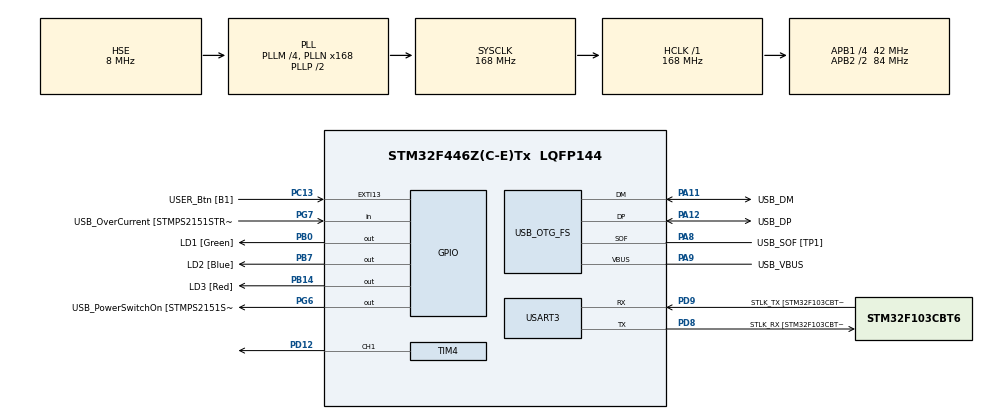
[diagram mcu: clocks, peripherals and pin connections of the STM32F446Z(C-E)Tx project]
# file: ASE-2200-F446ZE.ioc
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Mcu.Family=STM32F4
Mcu.Name=STM32F446Z(C-E)Tx
Mcu.Package=LQFP144
NVIC.EXTI15_10_IRQn=true\:0\:0\:false\:false\:true\:true\:true\:true
NVIC.PriorityGroup=NVIC_PRIORITYGROUP_4
NVIC.TIM3_IRQn=true\:0\:0\:false\:false\:true\:true\:true\:true
NVIC.TIM4_IRQn=true\:0\:0\:false\:false\:true\:true\:true\:true
NVIC.USART3_IRQn=true\:0\:0\:false\:false\:true\:true\:true\:true
PA10.GPIO_Label=USB_ID
PA10.Signal=USB_OTG_FS_ID
PA11.GPIO_Label=USB_DM
PA11.Mode=Device_Only
PA11.Signal=USB_OTG_FS_DM
PA12.GPIO_Label=USB_DP
PA12.Mode=Device_Only
PA12.Signal=USB_OTG_FS_DP
PA13.GPIO_Label=TMS
PA13.Mode=Serial_Wire
PA13.Signal=SYS_JTMS-SWDIO
PA14.GPIO_Label=TCK
PA14.Mode=Serial_Wire
PA14.Signal=SYS_JTCK-SWCLK
PA8.GPIO_Label=USB_SOF [TP1]
PA8.Mode=Activate_SOF_FS
PA8.Signal=USB_OTG_FS_SOF
PA9.GPIO_Label=USB_VBUS
PA9.Mode=Activate_VBUS
PA9.Signal=USB_OTG_FS_VBUS
PB0.GPIO_Label=LD1 [Green]
PB0.Signal=GPIO_Output
PB14.GPIO_Label=LD3 [Red]
PB14.Signal=GPIO_Output
PB7.GPIO_Label=LD2 [Blue]
PB7.Signal=GPIO_Output
PC13.GPIO_Label=USER_Btn [B1]
PC13.GPIO_PuPd=GPIO_PULLDOWN
PC13.Signal=GPXTI13
PC14-OSC32_IN.Mode=LSE-External-Oscillator
PC14-OSC32_IN.Signal=RCC_OSC32_IN
PC15-OSC32_OUT.Mode=LSE-External-Oscillator
PC15-OSC32_OUT.Signal=RCC_OSC32_OUT
PD12.Signal=S_TIM4_CH1
PD5.Signal=USART2_TX
PD6.Signal=USART2_RX
PD8.GPIO_Label=STLK_RX [STM32F103CBT6_PA3]
PD8.Mode=Asynchronous
PD8.Signal=USART3_TX
PD9.GPIO_Label=STLK_TX [STM32F103CBT6_PA2]
PD9.Mode=Asynchronous
PD9.Signal=USART3_RX
PG6.GPIO_Label=USB_PowerSwitchOn [STMPS2151STR_EN]
PG6.Signal=GPIO_Output
PG7.GPIO_Label=USB_OverCurrent [STMPS2151STR_FAULT]
PG7.Signal=GPIO_Input
PH0-OSC_IN.GPIO_Label=MCO [STM32F103CBT6_PA8]
PH0-OSC_IN.Mode=HSE-External-Clock-Source
PH0-OSC_IN.Signal=RCC_OSC_IN
PH1-OSC_OUT.Mode=HSE-External-Clock-Source
PH1-OSC_OUT.Signal=RCC_OSC_OUT
ProjectManager.HeapSize=0x200
ProjectManager.StackSize=0x400
ProjectManager.TargetToolchain=STM32CubeIDE
RCC.48MHZClocksFreq_Value=24000000
RCC.AHBFreq_Value=168000000
RCC.APB1CLKDivider=RCC_HCLK_DIV4
RCC.APB1Freq_Value=42000000
RCC.APB1TimFreq_Value=84000000
RCC.APB2CLKDivider=RCC_HCLK_DIV2
RCC.APB2Freq_Value=84000000
RCC.APB2TimFreq_Value=168000000
RCC.CortexFreq_Value=168000000
RCC.HCLKFreq_Value=168000000
RCC.HSE_VALUE=8000000
RCC.HSI_VALUE=16000000
RCC.PLLM=4
RCC.PLLMUL=RCC_PLL_MUL9
RCC.PLLN=168
RCC.PLLQ=7
RCC.PRESCALERUSB=RCC_USBCLKSOURCE_PLL_DIV1_5
RCC.SYSCLKFreq_VALUE=168000000
RCC.SYSCLKSource=RCC_SYSCLKSOURCE_PLLCLK
RCC.SYSCLKSourceVirtual=RCC_SYSCLKSOURCE_PLLCLK
RCC.USBFreq_Value=48000000
RCC.VCOOutputFreq_Value=336000000
SH.S_TIM4_CH1.0=TIM4_CH1,PWM Generation1 CH1
TIM3.Period=10000
TIM3.Prescaler=8400
TIM4.Channel-PWM\ Generation1\ CH1=TIM_CHANNEL_1
TIM4.Period=20000-1
TIM4.Prescaler=84-1
TIM4.Pulse-PWM\ Generation1\ CH1=1000-1
USART3.VirtualMode=VM_ASYNC
USB_OTG_FS.VirtualMode=Device_Only
VP_TIM3_VS_ClockSourceINT.Mode=Internal
VP_TIM4_VS_ClockSourceINT.Mode=Internal
board=NUCLEO-F446ZE

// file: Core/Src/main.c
/* USER CODE BEGIN Header */
/**
  ******************************************************************************
  * @file           : main.c
  * @brief          : Main program body
  ******************************************************************************
  * @attention
  *
  * Copyright (c) 2023 STMicroelectronics.
  * All rights reserved.
  *
  * This software is licensed under terms that can be found in the LICENSE file
  * in the root directory of this software component.
  * If no LICENSE file comes with this software, it is provided AS-IS.
  *
  ******************************************************************************
  */
/*
 * 코드 설명
 * 현재 timer 3는 1초에 한번씩 period elapsed callback 함수를 발생시키고 if(htim == &htim3) 블록 내부 실행 중
 * main()에서 초기화된 telemetry_data 구조체(ih_telemetry.h 참고)를 GetString 함수(ih_telemetry.c 참고)를 이용하여
 * string 획득한 뒤 이를 uart 통신을 통해 보냄
 * HAL_UART_Transmit_IT() 함수는 정상적으로 송신 성공시 HAL_OK를 반환하고 packet count 증가
 * 또한 송신 성공시마다 1번 led가 깜빡거림
 *
 * 현재 timer 4는 20ms에 한번씩 서보에 맞게 설정된 PWM 입력을 보내고 있음
 * 1ms High(켜짐), 19ms Low(꺼짐)시 -90도, 2ms High, 18ms Low시 +90도 임이 데이터시트에 명시되어 있음
 * 현재 실행 시 충분히 움직이지 않는 모습을 보이며 전원 부족 문제로 추측됨
 *
 * 현재 user button(파란색)은 external interrupt를 발생시키도록 설정되어 있음
 * 버튼을 누르면 HAL_GPIO_EXTI_Callback() 함수가 호출되며, if문을 통해 어떤 핀에 의해 호출되었는지 체크함
 * 버튼을 한번 누를 때마다 30도씩 각도가 변하도록 되어있음
 * IH_Servo_Write() 함수를 통해 현재 연결된 서보를 움직일 수 있음
 * 핀 위치를 바꾸거나 서보를 추가하기 위해서는 약간의 이해가 필요하니 주의할 것
 * ih_servo.h에 구현 방법이 매우 상세히 설명되어 있으니 참고할 것
 */
/* USER CODE END Header */
#include "main.h"
#include "tim.h"
#include "usart.h"
#include "usb_otg.h"
#include "gpio.h"

/* USER CODE BEGIN Includes */
#include <string.h>
#include <stdio.h>
#include <stdint.h>

/* USER CODE END Includes */

/* USER CODE BEGIN PD */
IH_TelemetryDataTypeDef telemetry_data;
char telemetry_string[DEF_TELEMETRY_STRING_SIZE];

IH_ServoTypeDef servo;
int deg = 0;
int ccr = 1000;
int isup = 0;
/* USER CODE END PD */

void SystemClock_Config(void);

int main(void)
{

  /* MCU Configuration--------------------------------------------------------*/

  /* Reset of all peripherals, Initializes the Flash interface and the Systick. */
  HAL_Init();

  /* Configure the system clock */
  SystemClock_Config();

  /* Initialize all configured peripherals */
  MX_GPIO_Init();
  MX_USART3_UART_Init();
  MX_USB_OTG_FS_PCD_Init();
  MX_TIM3_Init();
  MX_TIM4_Init();
  /* USER CODE BEGIN 2 */
  HAL_TIM_Base_Start_IT(&htim3);
  HAL_TIM_Base_Start_IT(&htim4);
  HAL_TIM_PWM_Start_IT(&htim4, TIM_CHANNEL_1);

  // initializing telemetry data
  strcpy(telemetry_data.STATE, "INITIALIZING");
  telemetry_data.TEAM_ID = DEF_TELEMETRY_TEAM_ID;
  telemetry_data.MISSION_TIME.HOUR = 13;
  telemetry_data.MISSION_TIME.MINUTE = 45;
  telemetry_data.MISSION_TIME.SECOND = 57;
  // packet count is zero
  telemetry_data.MODE = 'F';
  // STATE initialized above
  // no sensor data initialization: altitude, airspeed
  telemetry_data.HS_DEPLOYED = 'N';
  telemetry_data.PC_DEPLOYED = 'N';
  // no sensor data initialization: temperature, voltage, pressure, GPS, tilt, rotation
  strcpy(telemetry_data.CMD_ECHO, "NO_CMD");
  // optional data initialization

  // initializing servo

  IH_Servo_Attach(&servo, &(htim4.Instance->CCR1));
  /* USER CODE END 2 */

  /* Infinite loop */
  while (1)
  {

    // Hello

  }
}

void SystemClock_Config(void)
{
  RCC_OscInitTypeDef RCC_OscInitStruct = {0};
  RCC_ClkInitTypeDef RCC_ClkInitStruct = {0};

  /** Configure the main internal regulator output voltage
  */
  __HAL_RCC_PWR_CLK_ENABLE();
  __HAL_PWR_VOLTAGESCALING_CONFIG(PWR_REGULATOR_VOLTAGE_SCALE1);

  /** Initializes the RCC Oscillators according to the specified parameters
  * in the RCC_OscInitTypeDef structure.
  */
  RCC_OscInitStruct.OscillatorType = RCC_OSCILLATORTYPE_HSE;
  RCC_OscInitStruct.HSEState = RCC_HSE_BYPASS;
  RCC_OscInitStruct.PLL.PLLState = RCC_PLL_ON;
  RCC_OscInitStruct.PLL.PLLSource = RCC_PLLSOURCE_HSE;
  RCC_OscInitStruct.PLL.PLLM = 4;
  RCC_OscInitStruct.PLL.PLLN = 168;
  RCC_OscInitStruct.PLL.PLLP = RCC_PLLP_DIV2;
  RCC_OscInitStruct.PLL.PLLQ = 7;
  RCC_OscInitStruct.PLL.PLLR = 2;
  if (HAL_RCC_OscConfig(&RCC_OscInitStruct) != HAL_OK)
  {
    Error_Handler();
  }

  /** Initializes the CPU, AHB and APB buses clocks
  */
  RCC_ClkInitStruct.ClockType = RCC_CLOCKTYPE_HCLK|RCC_CLOCKTYPE_SYSCLK
                              |RCC_CLOCKTYPE_PCLK1|RCC_CLOCKTYPE_PCLK2;
  RCC_ClkInitStruct.SYSCLKSource = RCC_SYSCLKSOURCE_PLLCLK;
  RCC_ClkInitStruct.AHBCLKDivider = RCC_SYSCLK_DIV1;
  RCC_ClkInitStruct.APB1CLKDivider = RCC_HCLK_DIV4;
  RCC_ClkInitStruct.APB2CLKDivider = RCC_HCLK_DIV2;

  if (HAL_RCC_ClockConfig(&RCC_ClkInitStruct, FLASH_LATENCY_5) != HAL_OK)
  {
    Error_Handler();
  }
}

/* USER CODE BEGIN 4 */
void HAL_TIM_PeriodElapsedCallback(TIM_HandleTypeDef *htim){
	if (htim == &htim3){
		IH_UTCTime_AddSecond(&telemetry_data.MISSION_TIME);
		IH_TelemetryData_GetString(telemetry_string, &telemetry_data);
		if(HAL_UART_Transmit_IT(&huart3, telemetry_string, sizeof(telemetry_string))==HAL_OK){
			telemetry_data.PACKET_COUNT++;
			HAL_GPIO_TogglePin(LD1_GPIO_Port, LD1_Pin);
		}
	}
	if (htim == &htim4)
		HAL_GPIO_TogglePin(LD2_GPIO_Port, LD2_Pin);
}
void HAL_GPIO_EXTI_Callback(uint16_t GPIO_Pin){
	if (GPIO_Pin == USER_Btn_Pin){
		HAL_GPIO_TogglePin(LD3_GPIO_Port, LD3_Pin);
		if (isup == 1){
			// going up
			deg += 90;
//			if (deg >= 90){
//				deg = 90;
//				isup = 0;	// let's go down
//			}
			isup = 0;
		}
		else{
			// going down
			deg -= 90;
//			if (deg <= -90){
//				deg = -90;
//				isup = 1;	// let's go up
//			}
			isup = 1;
		}
		IH_Servo_Write(&servo, deg);
	}
}

/* USER CODE END 4 */

void Error_Handler(void)
{
  __disable_irq();
  while (1)
  {
  }
}
